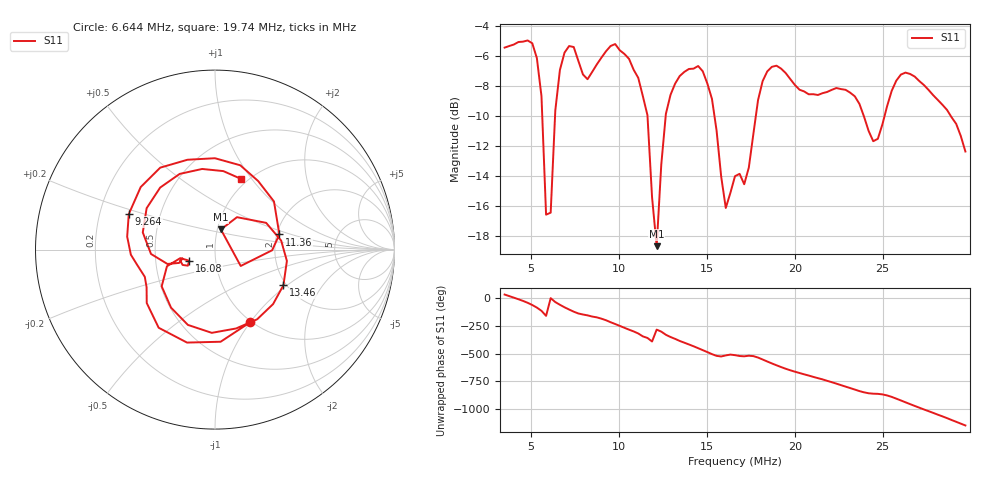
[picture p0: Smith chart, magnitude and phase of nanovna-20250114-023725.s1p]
# Hz S RI R 50
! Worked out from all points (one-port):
!   101 points, 3.5 MHz to 29.7 MHz, reference 50 ohm
!   lowest |S11| = -18.7 dB at 12.15 MHz (marker M1), VSWR 1.26, Z = 52 + j11.8 ohm
!   |S11| at or under -10 dB: 15.43 MHz to 17.78 MHz (2.352 MHz wide, 14.2 % of centre); 23.93 MHz to 25.1 MHz (1.177 MHz wide, 4.8 % of centre); 28.87 MHz to end of sweep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
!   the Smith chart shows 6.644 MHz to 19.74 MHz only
!   S11 on the Smith chart (normalised r, x): 6.644 MHz: 0.98, -1.00; 9.264 MHz: 0.33, +0.18; 11.36 MHz: 2.07, +0.40; 13.46 MHz: 1.93, -0.94; 16.08 MHz: 0.74, -0.09; 19.74 MHz: 0.92, +0.89
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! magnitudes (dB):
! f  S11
! 3.5 MHz  -5.4
! 5.334 MHz  -6.1
! 5.596 MHz  -8.7
! 5.858 MHz  -16.6
! 6.12 MHz  -16.4
! 6.382 MHz  -9.6
! 6.644 MHz  -6.9
! 6.906 MHz  -5.8
! 8.216 MHz  -7.5
! 9.264 MHz  -5.7
! 10.05 MHz  -5.6
! 11.36 MHz  -8.7
! 11.62 MHz  -9.9
! 12.15 MHz  -18.7
! 12.67 MHz  -9.9
! 13.46 MHz  -7.3
! 15.03 MHz  -7.8
! 16.08 MHz  -16.1
! 16.6 MHz  -14.0
! 17.12 MHz  -14.5
! 18.43 MHz  -7.0
! 19.74 MHz  -7.5
! 20.01 MHz  -7.9
! 23.15 MHz  -8.4
! 24.46 MHz  -11.7
! 25.77 MHz  -7.6
! 26.56 MHz  -7.2
! 29.7 MHz  -12.4
